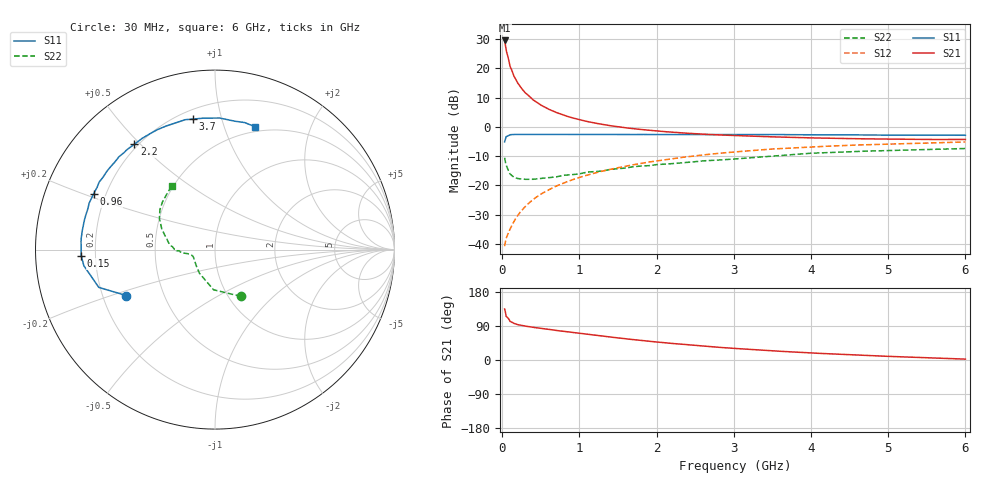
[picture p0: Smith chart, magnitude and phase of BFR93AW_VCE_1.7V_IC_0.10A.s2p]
! Infineon Technologies  Discrete & RF Semiconductors
! BFR93AW
! VCE =  1.7 V,  IC = 0.10 A
! Common Emitter S-Parameters:  Nov 2015
# GHz  S  MA  R  50
!  f  S11  S21  S12  S22
! GHz  MAG  ANG  MAG  ANG  MAG  ANG  MAG  ANG
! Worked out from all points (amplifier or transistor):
!   206 points, 30 MHz to 6 GHz, reference 50 ohm
!   highest |S21| = 29.5 dB at 30 MHz (marker M1)
!   |S21| within 3 dB of that: start of sweep to 47.49 MHz
!   unconditionally stable (mu >= 1): start of sweep to end of sweep
!   at 200 MHz: K = 1.41, MAG = 18.8 dB, |S12| = -30.2 dB
!   at 1.56 GHz: K = 1.29, MAG = 3.5 dB, |S12| = -13.6 dB
!   at 6 GHz: K = 1.06, MAG = -1.0 dB, |S12| = -5.1 dB
!   S11 on the Smith chart (normalised r, x): 30 MHz: 0.30, -0.22; 150 MHz: 0.15, -0.02; 960 MHz: 0.15, +0.21; 2.2 GHz: 0.19, +0.48; 3.7 GHz: 0.25, +0.81; 6 GHz: 0.45, +1.28
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0.03  0.5566 -152.6  29.96 134.7  0.0092 57.8  0.2984 -60.9
0.05  0.6808 -162.0  20.16 115.2  0.0125 55.9  0.2239 -92.1
0.1  0.7363 -173.0  10.91 101.8  0.0179 59.4  0.1579 -123.3
0.15  0.746 -177.3  7.392 96.7  0.0242 68.2  0.1391 -138.2
0.2  0.7459 179.4  5.612 93.3  0.0309 69.8  0.1315 -147.0
0.24  0.7474 177.3  4.735 91.6  0.0359 71.5  0.1295 -151.8
0.26  0.7478 176.4  4.373 90.8  0.0386 72.1  0.1287 -153.6
0.3  0.7479 175.0  3.797 89.2  0.044 73.3  0.1274 -156.2
0.4  0.7468 171.4  2.889 86.1  0.0575 74.5  0.1277 -162.4
0.5  0.7464 168.1  2.36 83.4  0.0712 74.5  0.1322 -165.9
0.6  0.7456 165.5  2.009 80.9  0.0838 74.4  0.1359 -167.4
0.8  0.7476 159.7  1.577 75.5  0.1105 73.0  0.1493 -170.5
0.96  0.7439 155.4  1.37 71.5  0.1322 71.6  0.1558 -171.7
1.04  0.7432 153.5  1.291 69.5  0.1426 70.7  0.1625 -172.5
1.44  0.7437 144.1  1.031 59.6  0.1938 66.2  0.1905 -175.8
2.02  0.7416 131.1  0.847 47.0  0.2653 59.1  0.228 179.0
2.2  0.7395 127.5  0.814 43.7  0.2875 56.7  0.2356 176.3
3.1  0.7394 109.9  0.706 29.4  0.3823 44.9  0.2894 164.4
3.7  0.7378 99.7  0.665 21.9  0.4336 37.0  0.3325 155.2
4.1  0.7338 93.5  0.646 17.6  0.4617 32.0  0.3599 149.2
5.1  0.7239 81.1  0.618 8.9  0.514 20.8  0.3986 136.0
6  0.7205 71.9  0.611 2.3  0.5534 12.3  0.428 124.2
